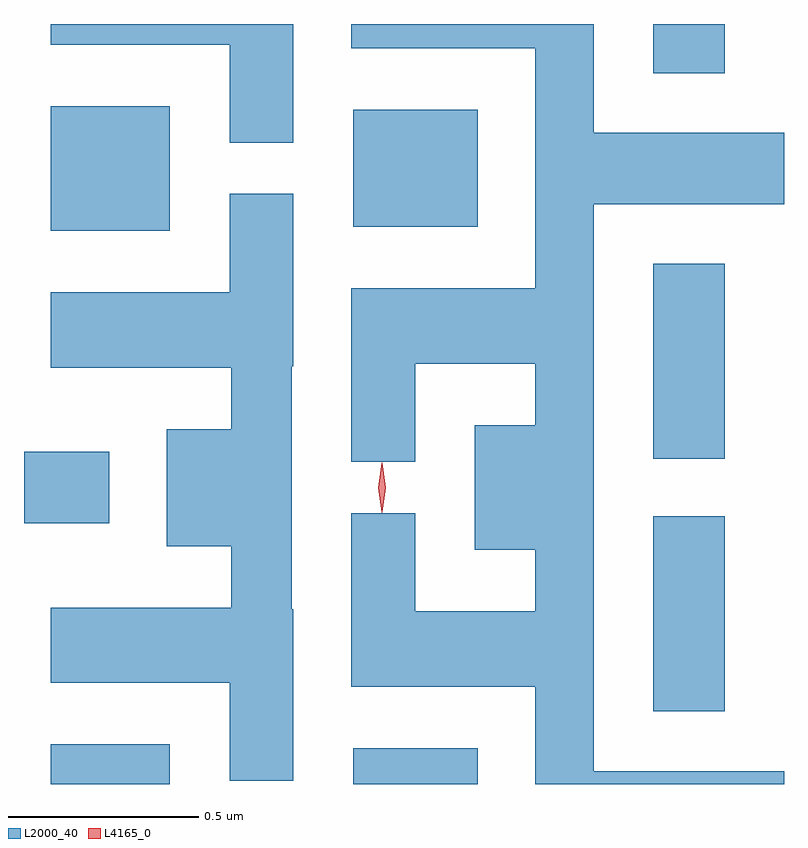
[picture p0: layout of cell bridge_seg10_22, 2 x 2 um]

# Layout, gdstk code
import gdstk
lib = gdstk.Library(unit=1e-6, precision=1e-09)
def R(c, l, rs):  # rectangles x0, y0, x1, y1
    for r in rs: c.add(gdstk.rectangle(r[:2], r[2:], *l))
def P(c, l, *ps):  # polygons
    for p in ps: c.add(gdstk.Polygon(p, *l))
L2000_40 = (2000, 40)
L4165_0 = (4165, 0)

bridge_seg10_22 = lib.new_cell('bridge_seg10_22')
R(bridge_seg10_22, L2000_40, [(1786.791,2161.67,1787.104,2161.774), (1787.586,2161.67,1787.914,2161.764), (1788.376,2161.861,1788.564,2162.374), (1786.72,2162.356,1786.944,2162.544), (1788.376,2162.526,1788.564,2163.039), (1786.791,2163.126,1787.104,2163.454), (1787.586,2163.136,1787.914,2163.444), (1788.376,2163.541,1788.564,2163.67)])
P(bridge_seg10_22, L2000_40, [(1788.72,2161.704),(1788.219,2161.704),(1788.219,2163.196),(1788.72,2163.196),(1788.72,2163.384),(1788.219,2163.384),(1788.219,2163.67),(1787.581,2163.67),(1787.581,2163.606),(1788.066,2163.606),(1788.066,2162.974),(1787.581,2162.974),(1787.581,2162.518),(1787.749,2162.518),(1787.749,2162.776),(1788.066,2162.776),(1788.066,2162.614),(1787.906,2162.614),(1787.906,2162.286),(1788.066,2162.286),(1788.066,2162.124),(1787.749,2162.124),(1787.749,2162.383),(1787.581,2162.383),(1787.581,2161.926),(1788.066,2161.926),(1788.066,2161.67),(1788.72,2161.67)],
  [(1787.429,2163.67),(1786.791,2163.67),(1786.791,2163.616),(1787.261,2163.616),(1787.261,2163.358),(1787.429,2163.358)],
  [(1787.429,2162.13),(1787.424,2162.13),(1787.424,2162.77),(1787.429,2162.77),(1787.429,2163.223),(1787.261,2163.223),(1787.261,2162.964),(1786.791,2162.964),(1786.791,2162.766),(1787.266,2162.766),(1787.266,2162.604),(1787.096,2162.604),(1787.096,2162.296),(1787.266,2162.296),(1787.266,2162.134),(1786.791,2162.134),(1786.791,2161.936),(1787.261,2161.936),(1787.261,2161.678),(1787.429,2161.678)])
P(bridge_seg10_22, L4165_0, [(1787.662,2162.384),(1787.662,2162.385),(1787.652,2162.45),(1787.662,2162.515),(1787.662,2162.516),(1787.663,2162.515),(1787.672,2162.45),(1787.663,2162.385)])

lib.write_gds('bridge_seg10_22.gds')
